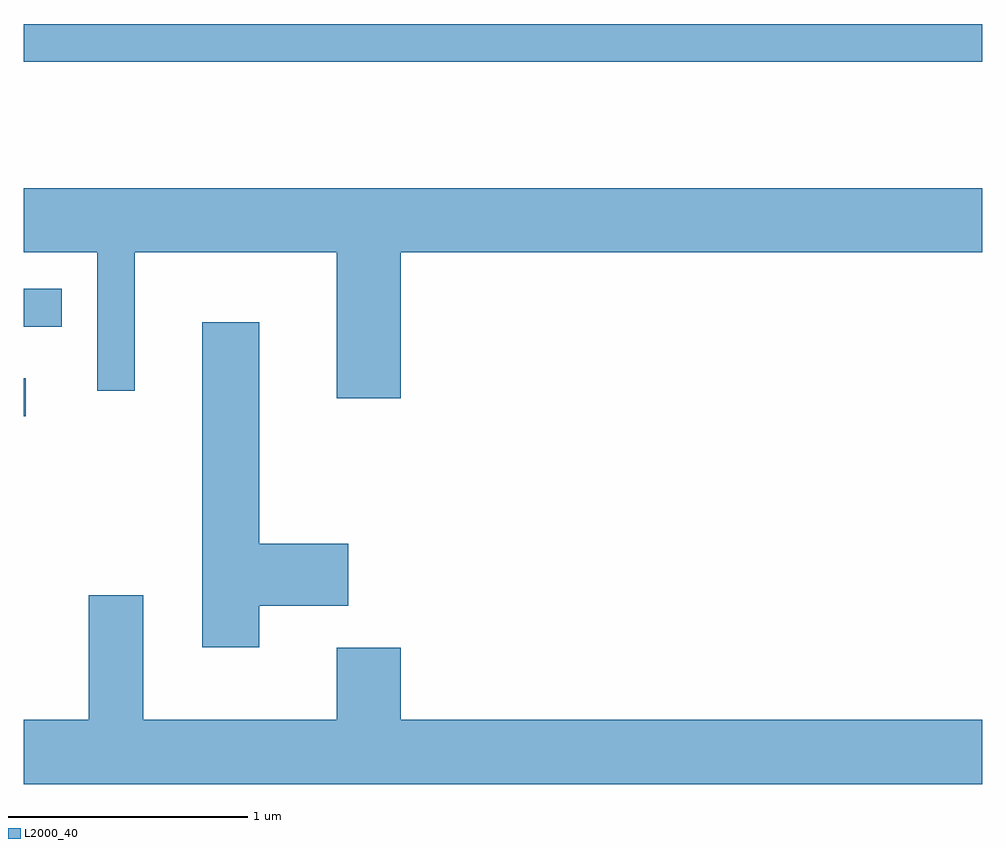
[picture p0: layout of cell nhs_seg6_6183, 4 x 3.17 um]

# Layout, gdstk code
import gdstk
lib = gdstk.Library(unit=1e-6, precision=1e-09)
def R(c, l, rs):  # rectangles x0, y0, x1, y1
    for r in rs: c.add(gdstk.rectangle(r[:2], r[2:], *l))
def P(c, l, *ps):  # polygons
    for p in ps: c.add(gdstk.Polygon(p, *l))
L2000_40 = (2000, 40)

nhs_seg6_6183 = lib.new_cell('nhs_seg6_6183')
R(nhs_seg6_6183, L2000_40, [(373.611,1536.031,373.619,1536.189), (373.611,1536.406,373.768,1536.564), (373.611,1537.511,377.611,1537.669)])
P(nhs_seg6_6183, L2000_40, [(375.184,1536.716),(377.611,1536.716),(377.611,1536.984),(373.611,1536.984),(373.611,1536.716),(373.916,1536.716),(373.916,1536.138),(374.074,1536.138),(374.074,1536.716),(374.916,1536.716),(374.916,1536.106),(375.184,1536.106)],
  [(374.594,1535.241),(374.964,1535.241),(374.964,1535.499),(374.594,1535.499),(374.594,1536.424),(374.356,1536.424),(374.356,1535.066),(374.594,1535.066)],
  [(377.611,1534.764),(375.184,1534.764),(375.184,1535.064),(374.916,1535.064),(374.916,1534.764),(374.109,1534.764),(374.109,1535.284),(373.881,1535.284),(373.881,1534.764),(373.611,1534.764),(373.611,1534.496),(377.611,1534.496)])

lib.write_gds('nhs_seg6_6183.gds')
